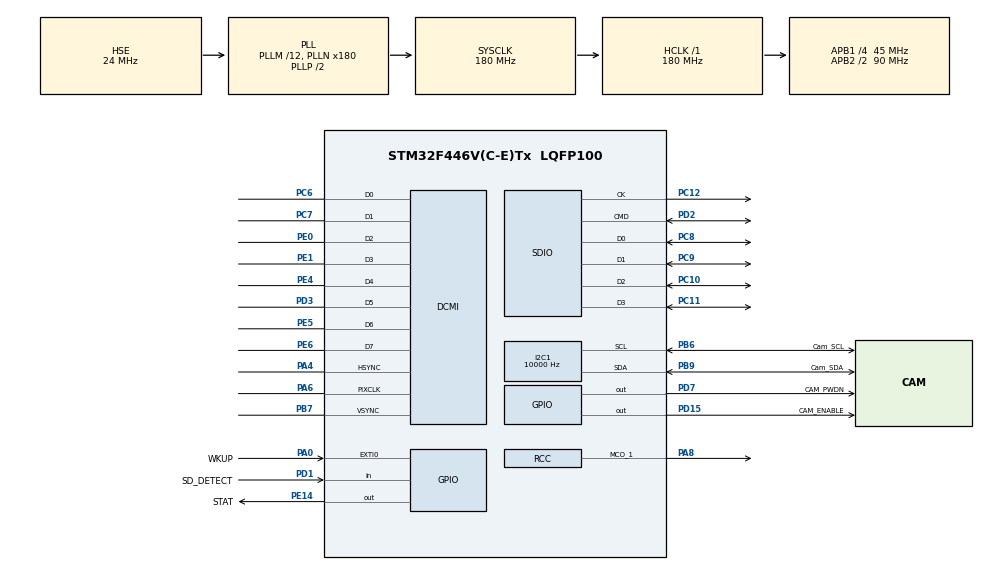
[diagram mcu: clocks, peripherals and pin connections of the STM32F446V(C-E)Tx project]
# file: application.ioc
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DCMI.HSPolarity=DCMI_HSPOLARITY_HIGH
DCMI.JPEGMode=DCMI_JPEG_ENABLE
DCMI.PCKPolarity=DCMI_PCKPOLARITY_RISING
DCMI.VSPolarity=DCMI_VSPOLARITY_HIGH
Dma.DCMI.0.Direction=DMA_PERIPH_TO_MEMORY
Dma.DCMI.0.FIFOMode=DMA_FIFOMODE_ENABLE
Dma.DCMI.0.FIFOThreshold=DMA_FIFO_THRESHOLD_FULL
Dma.DCMI.0.Instance=DMA2_Stream1
Dma.DCMI.0.MemBurst=DMA_MBURST_INC4
Dma.DCMI.0.MemDataAlignment=DMA_MDATAALIGN_WORD
Dma.DCMI.0.MemInc=DMA_MINC_ENABLE
Dma.DCMI.0.Mode=DMA_CIRCULAR
Dma.DCMI.0.PeriphBurst=DMA_PBURST_SINGLE
Dma.DCMI.0.PeriphDataAlignment=DMA_PDATAALIGN_WORD
Dma.DCMI.0.PeriphInc=DMA_PINC_DISABLE
Dma.DCMI.0.Priority=DMA_PRIORITY_LOW
Dma.Request0=DCMI
Dma.Request1=SDIO
Dma.SDIO.1.Direction=DMA_PERIPH_TO_MEMORY
Dma.SDIO.1.FIFOMode=DMA_FIFOMODE_ENABLE
Dma.SDIO.1.FIFOThreshold=DMA_FIFO_THRESHOLD_FULL
Dma.SDIO.1.Instance=DMA2_Stream3
Dma.SDIO.1.MemBurst=DMA_MBURST_SINGLE
Dma.SDIO.1.MemDataAlignment=DMA_MDATAALIGN_BYTE
Dma.SDIO.1.MemInc=DMA_MINC_ENABLE
Dma.SDIO.1.Mode=DMA_PFCTRL
Dma.SDIO.1.PeriphBurst=DMA_PBURST_INC4
Dma.SDIO.1.PeriphDataAlignment=DMA_PDATAALIGN_WORD
Dma.SDIO.1.PeriphInc=DMA_PINC_DISABLE
Dma.SDIO.1.Priority=DMA_PRIORITY_LOW
FATFS.BSP.number=1
FATFS.USE_DMA_CODE_SD=1
FATFS._FS_EXFAT=1
FATFS._USE_LFN=1
FATFS0.BSP.STBoard=false
FATFS0.BSP.api=Unknown
FATFS0.BSP.instance=PD1
FATFS0.BSP.ip=GPIO
FATFS0.BSP.mode=Input
FATFS0.BSP.name=Detect_SDIO
FATFS0.BSP.solution=PD1
I2C1.ClockSpeed=10000
I2C1.I2C_Mode=I2C_Standard
Mcu.Family=STM32F4
Mcu.Name=STM32F446V(C-E)Tx
Mcu.Package=LQFP100
NVIC.DCMI_IRQn=true\:0\:0\:false\:false\:true\:true\:true\:true
NVIC.DMA2_Stream1_IRQn=true\:0\:0\:false\:false\:true\:false\:true\:true
NVIC.DMA2_Stream3_IRQn=true\:0\:0\:false\:false\:true\:false\:true\:true
NVIC.EXTI0_IRQn=true\:0\:0\:false\:false\:true\:true\:true\:true
NVIC.I2C1_ER_IRQn=true\:0\:0\:false\:false\:true\:true\:true\:true
NVIC.I2C1_EV_IRQn=true\:0\:0\:false\:false\:true\:true\:true\:true
NVIC.PriorityGroup=NVIC_PRIORITYGROUP_4
NVIC.SDIO_IRQn=true\:0\:0\:false\:false\:true\:true\:true\:true
PA0-WKUP.GPIO_Label=WKUP
PA0-WKUP.GPIO_ModeDefaultEXTI=GPIO_MODE_IT_FALLING
PA0-WKUP.Signal=GPXTI0
PA13.Mode=Trace_Asynchronous_SW
PA13.Signal=SYS_JTMS-SWDIO
PA14.Mode=Trace_Asynchronous_SW
PA14.Signal=SYS_JTCK-SWCLK
PA4.Mode=Slave_8_bits_External_Synchro
PA4.Signal=DCMI_HSYNC
PA6.Mode=Slave_8_bits_External_Synchro
PA6.Signal=DCMI_PIXCLK
PA8.Mode=Clock-out-1
PA8.Signal=RCC_MCO_1
PB3.Mode=Trace_Asynchronous_SW
PB3.Signal=SYS_JTDO-SWO
PB6.GPIO_Label=Cam_SCL
PB6.GPIO_Pu=GPIO_NOPULL
PB6.Mode=I2C
PB6.Signal=I2C1_SCL
PB7.Mode=Slave_8_bits_External_Synchro
PB7.Signal=DCMI_VSYNC
PB9.GPIO_Label=Cam_SDA
PB9.GPIO_Mode=GPIO_MODE_AF_OD
PB9.GPIO_Pu=GPIO_NOPULL
PB9.Mode=I2C
PB9.Signal=I2C1_SDA
PC10.Mode=SD_4_bits_Wide_bus
PC10.Signal=SDIO_D2
PC11.Mode=SD_4_bits_Wide_bus
PC11.Signal=SDIO_D3
PC12.Mode=SD_4_bits_Wide_bus
PC12.Signal=SDIO_CK
PC13.Mode=SYS_WakeUp1
PC13.Signal=SYS_WKUP1
PC14-OSC32_IN.Mode=LSE-External-Oscillator
PC14-OSC32_IN.Signal=RCC_OSC32_IN
PC15-OSC32_OUT.Mode=LSE-External-Oscillator
PC15-OSC32_OUT.Signal=RCC_OSC32_OUT
PC6.Mode=Slave_8_bits_External_Synchro
PC6.Signal=DCMI_D0
PC7.Mode=Slave_8_bits_External_Synchro
PC7.Signal=DCMI_D1
PC8.Mode=SD_4_bits_Wide_bus
PC8.Signal=SDIO_D0
PC9.Mode=SD_4_bits_Wide_bus
PC9.Signal=SDIO_D1
PD1.GPIO_Label=SD_DETECT
PD1.Signal=GPIO_Input
PD15.GPIO_Label=CAM_ENABLE
PD15.GPIO_PuPd=GPIO_NOPULL
PD15.Signal=GPIO_Output
PD2.Mode=SD_4_bits_Wide_bus
PD2.Signal=SDIO_CMD
PD3.Mode=Slave_8_bits_External_Synchro
PD3.Signal=DCMI_D5
PD7.GPIO_Label=CAM_PWDN
PD7.GPIO_Speed=GPIO_SPEED_FREQ_LOW
PD7.Signal=GPIO_Output
PE0.Mode=Slave_8_bits_External_Synchro
PE0.Signal=DCMI_D2
PE1.Mode=Slave_8_bits_External_Synchro
PE1.Signal=DCMI_D3
PE14.GPIO_Label=STAT
PE14.Signal=GPIO_Output
PE4.Mode=Slave_8_bits_External_Synchro
PE4.Signal=DCMI_D4
PE5.Mode=Slave_8_bits_External_Synchro
PE5.Signal=DCMI_D6
PE6.Mode=Slave_8_bits_External_Synchro
PE6.Signal=DCMI_D7
PH0-OSC_IN.Mode=HSE-External-Oscillator
PH0-OSC_IN.Signal=RCC_OSC_IN
PH1-OSC_OUT.Mode=HSE-External-Oscillator
PH1-OSC_OUT.Signal=RCC_OSC_OUT
ProjectManager.HeapSize=0x200
ProjectManager.StackSize=0x400
ProjectManager.TargetToolchain=Makefile
RCC.AHBFreq_Value=180000000
RCC.APB1CLKDivider=RCC_HCLK_DIV4
RCC.APB1Freq_Value=45000000
RCC.APB1TimFreq_Value=90000000
RCC.APB2CLKDivider=RCC_HCLK_DIV2
RCC.APB2Freq_Value=90000000
RCC.APB2TimFreq_Value=180000000
RCC.CortexFreq_Value=180000000
RCC.HCLKFreq_Value=180000000
RCC.HSE_VALUE=24000000
RCC.PLLM=12
RCC.PLLN=180
RCC.PLLQ=8
RCC.PLLSourceVirtual=RCC_PLLSOURCE_HSE
RCC.RCC_MCO1Source=RCC_MCO1SOURCE_HSE
RCC.SYSCLKFreq_VALUE=180000000
RCC.SYSCLKSource=RCC_SYSCLKSOURCE_PLLCLK
RCC.USBFreq_Value=45000000
RCC.VCOOutputFreq_Value=360000000
SDIO.ClockBypass=SDIO_CLOCK_BYPASS_ENABLE
VP_FATFS_VS_SDIO.Mode=SDIO
VP_RTC_VS_RTC_Activate.Mode=RTC_Enabled
board=custom

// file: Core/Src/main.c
/* USER CODE BEGIN Header */
/**
  ******************************************************************************
  * @file           : main.c
  * @brief          : Main program body
  ******************************************************************************
  * @attention
  *
  * Copyright (c) 2023 STMicroelectronics.
  * All rights reserved.
  *
  * This software is licensed under terms that can be found in the LICENSE file
  * in the root directory of this software component.
  * If no LICENSE file comes with this software, it is provided AS-IS.
  *
  ******************************************************************************
  */

/* USER CODE END Header */
#include "main.h"
#include "fatfs.h"

/* USER CODE BEGIN Includes */
#include "mutff.h"
#include "mutff_default.h"

#include "container.h"
#include "events.h"
#include "stm32f4xx_hal_gpio.h"
/* USER CODE END Includes */

DCMI_HandleTypeDef hdcmi;
DMA_HandleTypeDef hdma_dcmi;

I2C_HandleTypeDef hi2c1;

RTC_HandleTypeDef hrtc;

SD_HandleTypeDef hsd;
DMA_HandleTypeDef hdma_sdio;

/* USER CODE BEGIN PV */
FRESULT fatfs_err;
/* USER CODE END PV */

void SystemClock_Config(void);
static void MX_GPIO_Init(void);
static void MX_DMA_Init(void);
static void MX_DCMI_Init(void);
static void MX_I2C1_Init(void);
static void MX_RTC_Init(void);
static void MX_SDIO_SD_Init(void);

/* USER CODE BEGIN 0 */
struct Cam_config default_settings =  {
        .img_format = FMT_JPEG,
        .x_res = 800, //DVP timings need to be change for hi res
        .y_res = 600,
        .FPS = 20, //Can be 8, 15, 20, 23, 25, or 30. Setting to 9 == default PLL configuration (usually ~10FPS)
        .jpeg_comp_ratio = 12, // 1- 63 lower = better quality
        .v_flipped = OV5640_MIRROR_Y,
};

void turn_off() {
  BSP_CAMERA_Stop();

  // Close file
  fatfs_err = f_close(&SDFile);
  if (fatfs_err != FR_OK) {
    exit(fatfs_err);
  }

  HAL_GPIO_WritePin(STAT_GPIO_Port, STAT_Pin, GPIO_PIN_RESET);
  HAL_PWR_EnterSTANDBYMode();
}

void HAL_GPIO_EXTI_Callback(uint16_t GPIO_Pin) {
  switch (GPIO_Pin) {
    case WKUP_Pin:
      push_event_queue((Event) {
        .type = PowerOff,
        .data = NULL,
      });
      break;
    default:
      break;
  }
}

void handle_event(Event event) {
    switch (event.type) {
      case DCMIFrameComplete: {
          const DCMIFrameCompleteEventData event_data =
                  *((DCMIFrameCompleteEventData*) event.data);
          container_on_dcmi_frame_complete(event_data);
          free(event.data);
          break;
      }
      case DCMIDataReady: {
          const DCMIDataReadyEventData event_data =
                  *((DCMIDataReadyEventData*) event.data);
          container_on_dcmi_data_ready(event_data);
          free(event.data);
          break;
      }
      case DCMIVSync: {
          break;
      }
      case PowerOff: {
          turn_off();
          break;
      }
      case USBPluggedIn: {
          break;
      }
      default:
          Error_Handler();
          break;
    }
}

/* USER CODE END 0 */

int main(void)
{

  /* MCU Configuration--------------------------------------------------------*/

  /* Reset of all peripherals, Initializes the Flash interface and the Systick. */
  HAL_Init();

  /* USER CODE BEGIN Init */
  /* HAL_PWR_EnableWakeUpPin(PWR_WAKEUP_PIN1); */
  /* USER CODE END Init */

  /* Configure the system clock */
  SystemClock_Config();

  /* Initialize all configured peripherals */
  MX_GPIO_Init();
  MX_DMA_Init();
  MX_DCMI_Init();
  MX_I2C1_Init();
  MX_RTC_Init();
  MX_SDIO_SD_Init();
  MX_FATFS_Init();
  /* USER CODE BEGIN 2 */
  printf("Main Init\n");
  HAL_GPIO_WritePin(STAT_GPIO_Port, STAT_Pin, GPIO_PIN_SET);

  // Mount filesystem
  fatfs_err = f_mount(&SDFatFS, SDPath, 1);
  if (fatfs_err != FR_OK) {
    printf("failed to mount card, code: %i.\n", fatfs_err);
    if (fatfs_err != FR_NOT_READY) {
      printf("exiting.\n");
      exit(fatfs_err);
    }
    printf("continuing.\n");
  }

  // Open file
  fatfs_err = f_open(&SDFile, "3885.mp4", FA_WRITE | FA_CREATE_ALWAYS);
  if (fatfs_err != FR_OK) {
    printf("failed to open file, code: %i.\n", fatfs_err);
    printf("exiting.\n");
    exit(fatfs_err);
  }

  container_set_frame_rate(default_settings.FPS);
  container_set_resolution(default_settings.x_res, default_settings.y_res);
  container_set_format(MuTFF_FOURCC('j', 'p', 'e', 'g'));
  container_init(&SDFile);

  if (CAM_Init(default_settings.img_format,
           default_settings.x_res,
           default_settings.y_res,
           default_settings.FPS,
           default_settings.jpeg_comp_ratio,
           default_settings.v_flipped,
           default_settings.light_mode,
           default_settings.saturation,
           default_settings.contrast) != CAMERA_OK) {
    exit(1);
  }

  BSP_CAMERA_ContinuousStart();

  /* USER CODE END 2 */

  /* Infinite loop */
  /* USER CODE BEGIN WHILE */
  while (1)
  {
    // Sleep until an interrupt occurs
    HAL_SuspendTick();
    HAL_PWR_EnterSLEEPMode(PWR_MAINREGULATOR_ON, PWR_SLEEPENTRY_WFI);
    HAL_ResumeTick();
    /* USER CODE END WHILE */

    /* USER CODE BEGIN 3 */
    // Handle any events produced by the interrupt
    Event event;
    while (pop_event_queue(&event)) {
      handle_event(event);
    }
    /* USER CODE BEGIN 3 */
  }
  /* USER CODE END 3 */
}

void SystemClock_Config(void)
{
  RCC_OscInitTypeDef RCC_OscInitStruct = {0};
  RCC_ClkInitTypeDef RCC_ClkInitStruct = {0};

  /** Configure the main internal regulator output voltage
  */
  __HAL_RCC_PWR_CLK_ENABLE();
  __HAL_PWR_VOLTAGESCALING_CONFIG(PWR_REGULATOR_VOLTAGE_SCALE1);

  /** Initializes the RCC Oscillators according to the specified parameters
  * in the RCC_OscInitTypeDef structure.
  */
  RCC_OscInitStruct.OscillatorType = RCC_OSCILLATORTYPE_LSI|RCC_OSCILLATORTYPE_HSE;
  RCC_OscInitStruct.HSEState = RCC_HSE_ON;
  RCC_OscInitStruct.LSEState = RCC_LSE_ON;
  RCC_OscInitStruct.LSIState = RCC_LSI_ON;
  RCC_OscInitStruct.PLL.PLLState = RCC_PLL_ON;
  RCC_OscInitStruct.PLL.PLLSource = RCC_PLLSOURCE_HSE;
  RCC_OscInitStruct.PLL.PLLM = 12;
  RCC_OscInitStruct.PLL.PLLN = 180;
  RCC_OscInitStruct.PLL.PLLP = RCC_PLLP_DIV2;
  RCC_OscInitStruct.PLL.PLLQ = 8;
  RCC_OscInitStruct.PLL.PLLR = 2;
  if (HAL_RCC_OscConfig(&RCC_OscInitStruct) != HAL_OK)
  {
    Error_Handler();
  }

  /** Activate the Over-Drive mode
  */
  if (HAL_PWREx_EnableOverDrive() != HAL_OK)
  {
    Error_Handler();
  }

  /** Initializes the CPU, AHB and APB buses clocks
  */
  RCC_ClkInitStruct.ClockType = RCC_CLOCKTYPE_HCLK|RCC_CLOCKTYPE_SYSCLK
                              |RCC_CLOCKTYPE_PCLK1|RCC_CLOCKTYPE_PCLK2;
  RCC_ClkInitStruct.SYSCLKSource = RCC_SYSCLKSOURCE_PLLCLK;
  RCC_ClkInitStruct.AHBCLKDivider = RCC_SYSCLK_DIV1;
  RCC_ClkInitStruct.APB1CLKDivider = RCC_HCLK_DIV4;
  RCC_ClkInitStruct.APB2CLKDivider = RCC_HCLK_DIV2;

  if (HAL_RCC_ClockConfig(&RCC_ClkInitStruct, FLASH_LATENCY_5) != HAL_OK)
  {
    Error_Handler();
  }
  HAL_RCC_MCOConfig(RCC_MCO1, RCC_MCO1SOURCE_HSE, RCC_MCODIV_1);
}

static void MX_DCMI_Init(void)
{

  hdcmi.Instance = DCMI;
  hdcmi.Init.SynchroMode = DCMI_SYNCHRO_HARDWARE;
  hdcmi.Init.PCKPolarity = DCMI_PCKPOLARITY_RISING;
  hdcmi.Init.VSPolarity = DCMI_VSPOLARITY_HIGH;
  hdcmi.Init.HSPolarity = DCMI_HSPOLARITY_HIGH;
  hdcmi.Init.CaptureRate = DCMI_CR_ALL_FRAME;
  hdcmi.Init.ExtendedDataMode = DCMI_EXTEND_DATA_8B;
  hdcmi.Init.JPEGMode = DCMI_JPEG_ENABLE;
  hdcmi.Init.ByteSelectMode = DCMI_BSM_ALL;
  hdcmi.Init.ByteSelectStart = DCMI_OEBS_ODD;
  hdcmi.Init.LineSelectMode = DCMI_LSM_ALL;
  hdcmi.Init.LineSelectStart = DCMI_OELS_ODD;
  if (HAL_DCMI_Init(&hdcmi) != HAL_OK)
  {
    Error_Handler();
  }

}

static void MX_I2C1_Init(void)
{

  hi2c1.Instance = I2C1;
  hi2c1.Init.ClockSpeed = 10000;
  hi2c1.Init.DutyCycle = I2C_DUTYCYCLE_2;
  hi2c1.Init.OwnAddress1 = 0;
  hi2c1.Init.AddressingMode = I2C_ADDRESSINGMODE_7BIT;
  hi2c1.Init.DualAddressMode = I2C_DUALADDRESS_DISABLE;
  hi2c1.Init.OwnAddress2 = 0;
  hi2c1.Init.GeneralCallMode = I2C_GENERALCALL_DISABLE;
  hi2c1.Init.NoStretchMode = I2C_NOSTRETCH_DISABLE;
  if (HAL_I2C_Init(&hi2c1) != HAL_OK)
  {
    Error_Handler();
  }

}

static void MX_RTC_Init(void)
{

  /** Initialize RTC Only
  */
  hrtc.Instance = RTC;
  hrtc.Init.HourFormat = RTC_HOURFORMAT_24;
  hrtc.Init.AsynchPrediv = 127;
  hrtc.Init.SynchPrediv = 255;
  hrtc.Init.OutPut = RTC_OUTPUT_DISABLE;
  hrtc.Init.OutPutPolarity = RTC_OUTPUT_POLARITY_HIGH;
  hrtc.Init.OutPutType = RTC_OUTPUT_TYPE_OPENDRAIN;
  if (HAL_RTC_Init(&hrtc) != HAL_OK)
  {
    Error_Handler();
  }

}

static void MX_SDIO_SD_Init(void)
{

  hsd.Instance = SDIO;
  hsd.Init.ClockEdge = SDIO_CLOCK_EDGE_RISING;
  hsd.Init.ClockBypass = SDIO_CLOCK_BYPASS_ENABLE;
  hsd.Init.ClockPowerSave = SDIO_CLOCK_POWER_SAVE_DISABLE;
  hsd.Init.BusWide = SDIO_BUS_WIDE_4B;
  hsd.Init.HardwareFlowControl = SDIO_HARDWARE_FLOW_CONTROL_DISABLE;
  hsd.Init.ClockDiv = 0;
  /* USER CODE BEGIN SDIO_Init 2 */
  hsd.Init.BusWide = SDIO_BUS_WIDE_1B;
  /* USER CODE END SDIO_Init 2 */

}

static void MX_DMA_Init(void)
{

  /* DMA controller clock enable */
  __HAL_RCC_DMA2_CLK_ENABLE();

  /* DMA interrupt init */
  /* DMA2_Stream1_IRQn interrupt configuration */
  HAL_NVIC_SetPriority(DMA2_Stream1_IRQn, 0, 0);
  HAL_NVIC_EnableIRQ(DMA2_Stream1_IRQn);
  /* DMA2_Stream3_IRQn interrupt configuration */
  HAL_NVIC_SetPriority(DMA2_Stream3_IRQn, 0, 0);
  HAL_NVIC_EnableIRQ(DMA2_Stream3_IRQn);

}

static void MX_GPIO_Init(void)
{
  GPIO_InitTypeDef GPIO_InitStruct = {0};

  /* GPIO Ports Clock Enable */
  __HAL_RCC_GPIOE_CLK_ENABLE();
  __HAL_RCC_GPIOC_CLK_ENABLE();
  __HAL_RCC_GPIOH_CLK_ENABLE();
  __HAL_RCC_GPIOA_CLK_ENABLE();
  __HAL_RCC_GPIOD_CLK_ENABLE();
  __HAL_RCC_GPIOB_CLK_ENABLE();

  /*Configure GPIO pin Output Level */
  HAL_GPIO_WritePin(STAT_GPIO_Port, STAT_Pin, GPIO_PIN_RESET);

  /*Configure GPIO pin Output Level */
  HAL_GPIO_WritePin(GPIOD, CAM_ENABLE_Pin|CAM_PWDN_Pin, GPIO_PIN_RESET);

  /*Configure GPIO pin : WKUP_Pin */
  GPIO_InitStruct.Pin = WKUP_Pin;
  GPIO_InitStruct.Mode = GPIO_MODE_IT_FALLING;
  GPIO_InitStruct.Pull = GPIO_NOPULL;
  HAL_GPIO_Init(WKUP_GPIO_Port, &GPIO_InitStruct);

  /*Configure GPIO pin : STAT_Pin */
  GPIO_InitStruct.Pin = STAT_Pin;
  GPIO_InitStruct.Mode = GPIO_MODE_OUTPUT_PP;
  GPIO_InitStruct.Pull = GPIO_NOPULL;
  GPIO_InitStruct.Speed = GPIO_SPEED_FREQ_LOW;
  HAL_GPIO_Init(STAT_GPIO_Port, &GPIO_InitStruct);

  /*Configure GPIO pins : CAM_ENABLE_Pin CAM_PWDN_Pin */
  GPIO_InitStruct.Pin = CAM_ENABLE_Pin|CAM_PWDN_Pin;
  GPIO_InitStruct.Mode = GPIO_MODE_OUTPUT_PP;
  GPIO_InitStruct.Pull = GPIO_NOPULL;
  GPIO_InitStruct.Speed = GPIO_SPEED_FREQ_LOW;
  HAL_GPIO_Init(GPIOD, &GPIO_InitStruct);

  /*Configure GPIO pin : PA8 */
  GPIO_InitStruct.Pin = GPIO_PIN_8;
  GPIO_InitStruct.Mode = GPIO_MODE_AF_PP;
  GPIO_InitStruct.Pull = GPIO_NOPULL;
  GPIO_InitStruct.Speed = GPIO_SPEED_FREQ_LOW;
  GPIO_InitStruct.Alternate = GPIO_AF0_MCO;
  HAL_GPIO_Init(GPIOA, &GPIO_InitStruct);

  /*Configure GPIO pin : SD_DETECT_Pin */
  GPIO_InitStruct.Pin = SD_DETECT_Pin;
  GPIO_InitStruct.Mode = GPIO_MODE_INPUT;
  GPIO_InitStruct.Pull = GPIO_NOPULL;
  HAL_GPIO_Init(SD_DETECT_GPIO_Port, &GPIO_InitStruct);

  /* EXTI interrupt init*/
  HAL_NVIC_SetPriority(EXTI0_IRQn, 0, 0);
  HAL_NVIC_EnableIRQ(EXTI0_IRQn);

}

void Error_Handler(void)
{
  __disable_irq();
  while (1)
  {
  }
}

#ifdef  USE_FULL_ASSERT
/**
  * @brief  Reports the name of the source file and the source line number
  *         where the assert_param error has occurred.
  * @param  file: pointer to the source file name
  * @param  line: assert_param error line source number
  * @retval None
  */
void assert_failed(uint8_t *file, uint32_t line)
{
  /* USER CODE BEGIN 6 */
  /* User can add his own implementation to report the file name and line number,
     eg: printf("Wrong parameters value: file %s on line %d\r\n", file, line) */
  /* USER CODE END 6 */
}
#endif /* USE_FULL_ASSERT */
